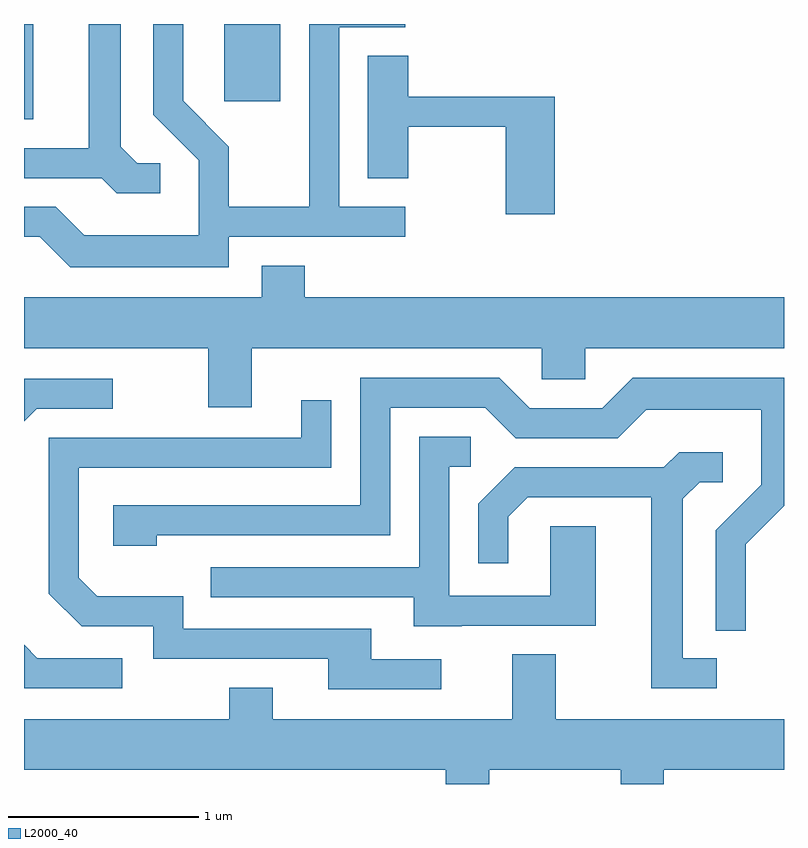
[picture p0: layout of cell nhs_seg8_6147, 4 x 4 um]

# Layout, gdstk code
import gdstk
lib = gdstk.Library(unit=1e-6, precision=1e-09)
def R(c, l, rs):  # rectangles x0, y0, x1, y1
    for r in rs: c.add(gdstk.rectangle(r[:2], r[2:], *l))
def P(c, l, *ps):  # polygons
    for p in ps: c.add(gdstk.Polygon(p, *l))
L2000_40 = (2000, 40)

nhs_seg8_6147 = lib.new_cell('nhs_seg8_6147')
R(nhs_seg8_6147, L2000_40, [(369.611,1839.841,369.659,1840.342), (370.666,1839.936,370.959,1840.342)])
P(nhs_seg8_6147, L2000_40, [(370.689,1839.221),(371.618,1839.221),(371.618,1839.379),(371.269,1839.379),(371.269,1840.326),(371.618,1840.326),(371.618,1840.342),(371.111,1840.342),(371.111,1839.379),(370.689,1839.379),(370.689,1839.697),(370.449,1839.937),(370.449,1840.342),(370.291,1840.342),(370.291,1839.864),(370.531,1839.624),(370.531,1839.229),(369.927,1839.229),(369.777,1839.379),(369.611,1839.379),(369.611,1839.221),(369.694,1839.221),(369.854,1839.061),(370.689,1839.061)],
  [(370.328,1839.609),(370.207,1839.609),(370.119,1839.697),(370.119,1840.342),(369.951,1840.342),(369.951,1839.689),(369.611,1839.689),(369.611,1839.531),(370.019,1839.531),(370.099,1839.451),(370.328,1839.451)],
  [(372.404,1839.959),(371.634,1839.959),(371.634,1840.174),(371.421,1840.174),(371.421,1839.531),(371.634,1839.531),(371.634,1839.801),(372.146,1839.801),(372.146,1839.341),(372.404,1839.341)],
  [(370.809,1838.636),(372.336,1838.636),(372.336,1838.471),(372.564,1838.471),(372.564,1838.636),(373.611,1838.636),(373.611,1838.904),(371.089,1838.904),(371.089,1839.069),(370.861,1839.069),(370.861,1838.904),(369.611,1838.904),(369.611,1838.636),(370.581,1838.636),(370.581,1838.326),(370.809,1838.326)],
  [(373.409,1837.604),(373.611,1837.806),(373.611,1838.479),(372.814,1838.479),(372.654,1838.319),(372.272,1838.319),(372.112,1838.479),(371.381,1838.479),(371.381,1837.809),(370.081,1837.809),(370.081,1837.596),(370.309,1837.596),(370.309,1837.651),(371.539,1837.651),(371.539,1838.321),(372.039,1838.321),(372.199,1838.161),(372.737,1838.161),(372.887,1838.311),(373.491,1838.311),(373.491,1837.917),(373.251,1837.677),(373.251,1837.148),(373.409,1837.148)],
  [(369.677,1838.316),(370.078,1838.316),(370.078,1838.474),(369.611,1838.474),(369.611,1838.251)],
  [(371.808,1836.999),(371.439,1836.999),(371.439,1837.159),(370.449,1837.159),(370.449,1837.329),(369.997,1837.329),(369.899,1837.427),(369.899,1838.006),(371.229,1838.006),(371.229,1838.363),(371.071,1838.363),(371.071,1838.164),(369.741,1838.164),(369.741,1837.344),(369.914,1837.171),(370.291,1837.171),(370.291,1837.001),(371.211,1837.001),(371.211,1836.841),(371.808,1836.841)],
  [(371.915,1837.176),(372.619,1837.176),(372.619,1837.699),(372.381,1837.699),(372.381,1837.334),(371.849,1837.334),(371.849,1838.011),(371.963,1838.011),(371.963,1838.169),(371.691,1838.169),(371.691,1837.484),(370.593,1837.484),(370.593,1837.326),(371.661,1837.326),(371.661,1837.171),(371.915,1837.171)],
  [(373.258,1837.004),(373.079,1837.004),(373.079,1837.844),(373.167,1837.931),(373.288,1837.931),(373.288,1838.089),(373.059,1838.089),(372.979,1838.009),(372.194,1838.009),(372.001,1837.817),(372.001,1837.503),(372.159,1837.503),(372.159,1837.749),(372.262,1837.851),(372.911,1837.851),(372.911,1836.846),(373.258,1836.846)],
  [(370.128,1837.004),(369.682,1837.004),(369.611,1837.075),(369.611,1836.846),(370.128,1836.846)],
  [(371.831,1836.342),(372.059,1836.342),(372.059,1836.416),(372.751,1836.416),(372.751,1836.342),(372.979,1836.342),(372.979,1836.416),(373.611,1836.416),(373.611,1836.684),(372.409,1836.684),(372.409,1837.024),(372.181,1837.024),(372.181,1836.684),(370.919,1836.684),(370.919,1836.849),(370.691,1836.849),(370.691,1836.684),(369.611,1836.684),(369.611,1836.416),(371.831,1836.416)])

lib.write_gds('nhs_seg8_6147.gds')
